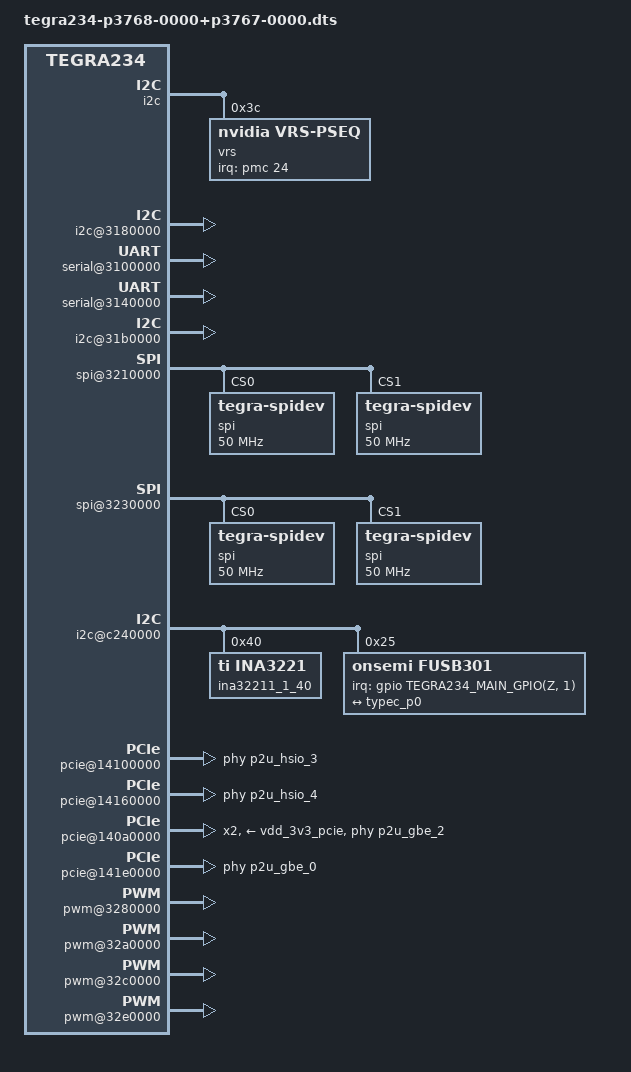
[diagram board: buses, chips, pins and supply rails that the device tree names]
// SPDX-License-Identifier: GPL-2.0-only
// Copyright (c) 2023, NVIDIA CORPORATION & AFFILIATES.  All rights reserved.

/dts-v1/;
/plugin/;

#include "tegra234-overlay.dtsi"
#include "tegra234-soc-thermal.dtsi"
#include "tegra234-soc-thermal-slowdown-corepair.dtsi"
#include "tegra234-soc-thermal-shutdown.dtsi"
#include "tegra234-p3767-0000.dtsi"
#include "tegra234-soc-camera.dtsi"
#include "tegra234-dcb-p3737-0000-p3701-0000.dtsi"
/ {
	overlay-name = "Tegra234 P3768-0000+P3767-0000 Overlay";

	fragment-t234-p3768-p3767@0 {
		target-path = "/";
		__overlay__ {
			bpmp {
				i2c {
					vrs@3c {
						compatible = "nvidia,vrs-pseq";
						reg = <0x3c>;
						interrupt-parent = <&pmc>;
						/* VRS Wake ID is 24 */
						interrupts = <24 IRQ_TYPE_LEVEL_LOW>;
						interrupt-controller;
						#interrupt-cells = <2>;
						status = "okay";
					};
				};
			};

			bus@0 {
				actmon@d230000 {
					status = "okay";
				};

				pinmux@2430000 {
					status = "okay";
				};

				i2c@3180000 {
					status = "okay";
				};

				/* UARTA, 40 pin header, Pin 8(TX), Pin 10(RX) */
				serial@3100000 {
					compatible = "nvidia,tegra194-hsuart";
					status = "okay";
				};

				/* UARTE, M2.E connector */
				serial@3140000 {
					compatible = "nvidia,tegra194-hsuart";
					status = "okay";
				};

				i2c@31b0000 {
					status = "okay";
				};

				/* SPI1, 40pin header, Pin 19(MOSI), Pin 21(MISO), Pin 23(CLK), Pin 24(CS) */
				spi@3210000{
					status = "okay";
					spi@0 {
						compatible = "tegra-spidev";
						reg = <0x0>;
						spi-max-frequency = <50000000>;
						controller-data {
							nvidia,enable-hw-based-cs;
							nvidia,rx-clk-tap-delay = <0x10>;
							nvidia,tx-clk-tap-delay = <0x0>;
						};
					};
					spi@1 {
						compatible = "tegra-spidev";
						reg = <0x1>;
						spi-max-frequency = <50000000>;
						controller-data {
							nvidia,enable-hw-based-cs;
							nvidia,rx-clk-tap-delay = <0x10>;
							nvidia,tx-clk-tap-delay = <0x0>;
						};
					};

				};

				/* SPI3, 40pin header, Pin 37(MOSI), Pin 22(MISO), Pin 13(CLK), Pin 18(CS) */
				spi@3230000{
					status = "okay";
					spi@0 {
						compatible = "tegra-spidev";
						reg = <0x0>;
						spi-max-frequency = <50000000>;
						controller-data {
							nvidia,enable-hw-based-cs;
							nvidia,rx-clk-tap-delay = <0x10>;
							nvidia,tx-clk-tap-delay = <0x0>;
						};
					};
					spi@1 {
						compatible = "tegra-spidev";
						reg = <0x1>;
						spi-max-frequency = <50000000>;
						controller-data {
							nvidia,enable-hw-based-cs;
							nvidia,rx-clk-tap-delay = <0x10>;
							nvidia,tx-clk-tap-delay = <0x0>;
						};
					};
				};

				padctl@3520000 {
					ports {
						usb2-0 {
							port {
								typec_p0: endpoint {
									remote-endpoint = <&fusb_p0>;
								};
							};
						};
					};
				};

				i2c@c240000 {
					status = "okay";
					ina32211_1_40: ina3221@40 {
						compatible = "ti,ina3221";
						reg = <0x40>;
						#address-cells = <1>;
						#size-cells = <0>;
						#io-channel-cells = <1>;
						channel@0 {
							reg = <0x0>;
							label = "VDD_IN";
							shunt-resistor-micro-ohms = <5000>;
						};
						channel@1 {
							reg = <0x1>;
							label = "VDD_CPU_GPU_CV";
							shunt-resistor-micro-ohms = <5000>;
						};
						channel@2 {
							reg = <0x2>;
							label = "VDD_SOC";
							shunt-resistor-micro-ohms = <5000>;
						};
					};
					fusb301@25 {
						compatible = "onsemi,fusb301";
						reg = <0x25>;
						status = "okay";
						#address-cells = <1>;
						#size-cells = <0>;
						interrupt-parent = <&gpio>;
						interrupts = <TEGRA234_MAIN_GPIO(Z, 1) IRQ_TYPE_LEVEL_LOW>;
						connector@0 {
							port@0 {
								fusb_p0: endpoint {
									remote-endpoint = <&typec_p0>;
								};
							};
						};
					};
				};

				/* C1 - M.2 Key-E */
				pcie@14100000 {
					status = "okay";

					vddio-pex-ctl-supply = <&vdd_1v8_ao>;

					phys = <&p2u_hsio_3>;
					phy-names = "p2u-0";
				};

				/* C4 - M.2 Key-M */
				pcie@14160000 {
					status = "okay";

					vddio-pex-ctl-supply = <&vdd_1v8_ao>;

					phys = <&p2u_hsio_4>, <&p2u_hsio_5>, <&p2u_hsio_6>,
					       <&p2u_hsio_7>;
					phy-names = "p2u-0", "p2u-1", "p2u-2", "p2u-3";
				};

				/* C8 - Ethernet */
				pcie@140a0000 {
					status = "okay";

					num-lanes = <2>;

					phys = <&p2u_gbe_2>, <&p2u_gbe_3>;
					phy-names = "p2u-0", "p2u-1";

					vddio-pex-ctl-supply = <&vdd_1v8_ao>;
					vpcie3v3-supply = <&vdd_3v3_pcie>;
				};

				/* C7 - M.2 Key-M */
				pcie@141e0000 {
					status = "okay";

					vddio-pex-ctl-supply = <&vdd_1v8_ao>;

					phys = <&p2u_gbe_0>, <&p2u_gbe_1>;
					phy-names = "p2u-0", "p2u-1";
				};

				/* PWM1, 40pin header, pin 15 */
				pwm@3280000 {
					status = "okay";
				};

				/* PWM3, FAN */
				pwm@32a0000 {
					status = "okay";
				};

				/* PWM5, 40pin header, pin 33 */
				pwm@32c0000 {
					status = "okay";
				};

				/* PWM7, 40pin header, pin 32 */
				pwm@32e0000 {
					status = "okay";
				};

				serial@31d0000 {
					current-speed = <115200>;
				};

				tachometer@39c0000 {
					status = "okay";
					upper-threshold = <0xfffff>;
					lower-threshold = <0x0>;
				};

				hsp@3d00000 {
					status = "okay";
				};

				aon@c000000 {
					status = "okay";
				};

				hardware-timestamp@c1e0000 {
					status = "okay";
					nvidia,num-slices = <3>;
				};

				mttcan@c310000 {
					status = "okay";
				};

				host1x@13e00000 {
					nvdec@15480000 {
						status = "okay";
					};

					nvenc@154c0000 {
						status = "okay";
					};

					tegra_soc_hwpm {
						status = "okay";
					};

					nvdla0@15880000 {
						status = "okay";
					};

					nvdla1@158c0000 {
						status = "okay";
					};

					ofa@15a50000 {
						status = "okay";
					};

					pva0@16000000 {
						status = "okay";

						pva0_niso1_ctx0 {
							status = "okay";
						};

						pva0_niso1_ctx1 {
							status = "okay";
						};

						pva0_niso1_ctx2 {
							status = "okay";
						};

						pva0_niso1_ctx3 {
							status = "okay";
						};

						pva0_niso1_ctx4 {
							status = "okay";
						};

						pva0_niso1_ctx5 {
							status = "okay";
						};

						pva0_niso1_ctx6 {
							status = "okay";
						};

						pva0_niso1_ctx7 {
							status = "okay";
						};
					};

					nvjpg@15380000 {
						status = "okay";
					};

					nvjpg@15540000 {
						status = "okay";
					};
				};
			};

			cpus {
				idle-states {
					c7 {
						status = "okay";
					};
				};
			};

			nvpmodel {
				status = "okay";
			};

			soctherm-oc-event {
				status = "okay";
			};

			thermal-zones {
				cpu-thermal {
					status = "okay";
				};

				gpu-thermal {
					status = "okay";
				};

				cv0-thermal {
					status = "okay";
				};

				cv1-thermal {
					status = "okay";
				};

				cv2-thermal {
					status = "okay";
				};

				soc0-thermal {
					status = "okay";
				};

				soc1-thermal {
					status = "okay";
				};

				soc2-thermal {
					status = "okay";
				};
			};

			tegra-hsp@b950000 {
				status = "okay";
			};

			dce@d800000 {
				status = "okay";
			};

			display@13800000 {
				status = "okay";
			};
		};
	};
};

/*
 * Include this file last in the device tree.  It manages run-time
 * pruning of peripherals that are not available across the various
 * SKUs of p3767.  For example PVA can be enabled in the device tree
 * and it will automatically be disabled for SKUs without PVA support.
 */
#include "tegra234-p3767-sku-handling.dtsi"
